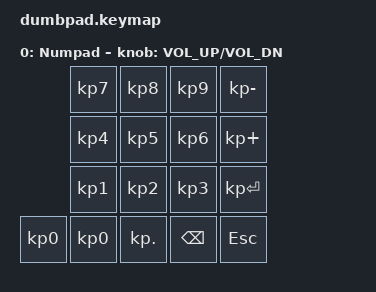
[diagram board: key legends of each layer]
#include <behaviors.dtsi>
#include <dt-bindings/zmk/keys.h>

/ {
    keymap {
        compatible = "zmk,keymap";

        default_layer {
            display-name = "Numpad";
            bindings = <
                &kp KP_N7    &kp KP_N8    &kp KP_N9    &kp KP_MINUS
                &kp KP_N4    &kp KP_N5    &kp KP_N6    &kp KP_PLUS
                &kp KP_N1    &kp KP_N2    &kp KP_N3    &kp KP_ENTER
                &kp KP_N0    &kp KP_N0    &kp KP_DOT   &kp BSPC      &kp ESC
            >;
            sensor-bindings = <&inc_dec_kp C_VOL_UP C_VOL_DN>;
        };
    };
};
